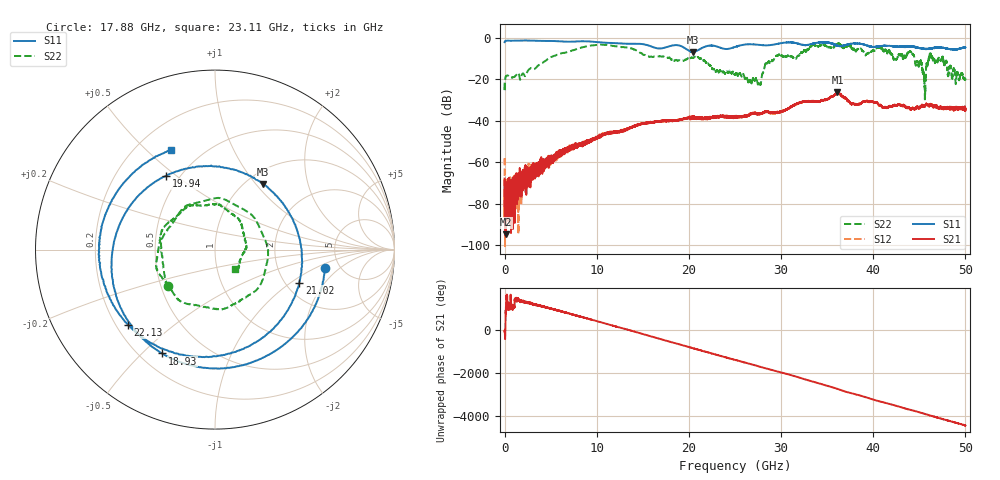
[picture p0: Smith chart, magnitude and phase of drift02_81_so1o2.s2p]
!Created with skrf (http://scikit-rf.org).
# Hz S RI R 50.0
!freq ReS11 ImS11 ReS21 ImS21 ReS12 ImS12 ReS22 ImS22
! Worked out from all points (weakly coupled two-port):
!   10001 points, 300 kHz to 50 GHz, reference 50 ohm
!   highest |S21| = -26.28 dB at 36.12 GHz (marker M1); lowest = -94.6 dB at 110.3 MHz (marker M2)
!   lowest |S11| = -6.9 dB at 20.44 GHz (marker M3), VSWR 2.65, Z = 59.5 + j54.4 ohm
!   |S11| at or under -10 dB: nowhere
!   |S22| runs from -29.7 to -2.6 dB; largest |S21 - S12| = 0.0047
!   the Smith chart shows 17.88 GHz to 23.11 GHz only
!   S11 on the Smith chart (normalised r, x): 17.88 GHz: 3.81, -1.30; 18.93 GHz: 0.29, -0.58; 19.94 GHz: 0.42, +0.46; 21.02 GHz: 2.36, -1.17; 22.13 GHz: 0.25, -0.35; 23.11 GHz: 0.34, +0.59
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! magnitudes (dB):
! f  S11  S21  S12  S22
! 300 kHz  -2.1  -67.8  -58.0  -21.7
! 110.3 MHz  -1.5  -94.6  -73.3  -18.9
! 270.3 MHz  -1.4  -73.5  -73.0  -18.2
! 8.335 GHz  -1.7  -51.5  -51.0  -4.7
! 16.67 GHz  -5.2  -40.2  -40.4  -9.0
! 17.88 GHz  -4.1  -40.2  -40.0  -9.6
! 18.93 GHz  -3.8  -39.4  -39.6  -10.8
! 19.94 GHz  -6.1  -38.4  -38.4  -9.9
! 20.44 GHz  -6.9  -38.8  -38.6  -9.7
! 21.02 GHz  -5.9  -38.6  -38.6  -9.4
! 22.13 GHz  -3.9  -39.1  -38.3  -12.8
! 23.11 GHz  -4.4  -37.6  -38.2  -16.1
! 25 GHz  -4.5  -38.1  -38.3  -17.7
! 27.63 GHz  -3.5  -36.8  -36.7  -21.3
! 29.55 GHz  -3.0  -36.1  -36.2  -8.7
! 33.34 GHz  -3.0  -30.4  -30.5  -3.8
! 36.12 GHz  -3.8  -26.3  -27.0  -3.2
! 41.67 GHz  -3.9  -33.4  -33.4  -6.2
! 44.14 GHz  -4.2  -34.2  -34.4  -7.1
! 45.5 GHz  -5.3  -32.9  -32.9  -16.9
! 47.33 GHz  -4.8  -33.3  -33.4  -11.0
! 50 GHz  -4.7  -34.9  -34.0  -20.1
